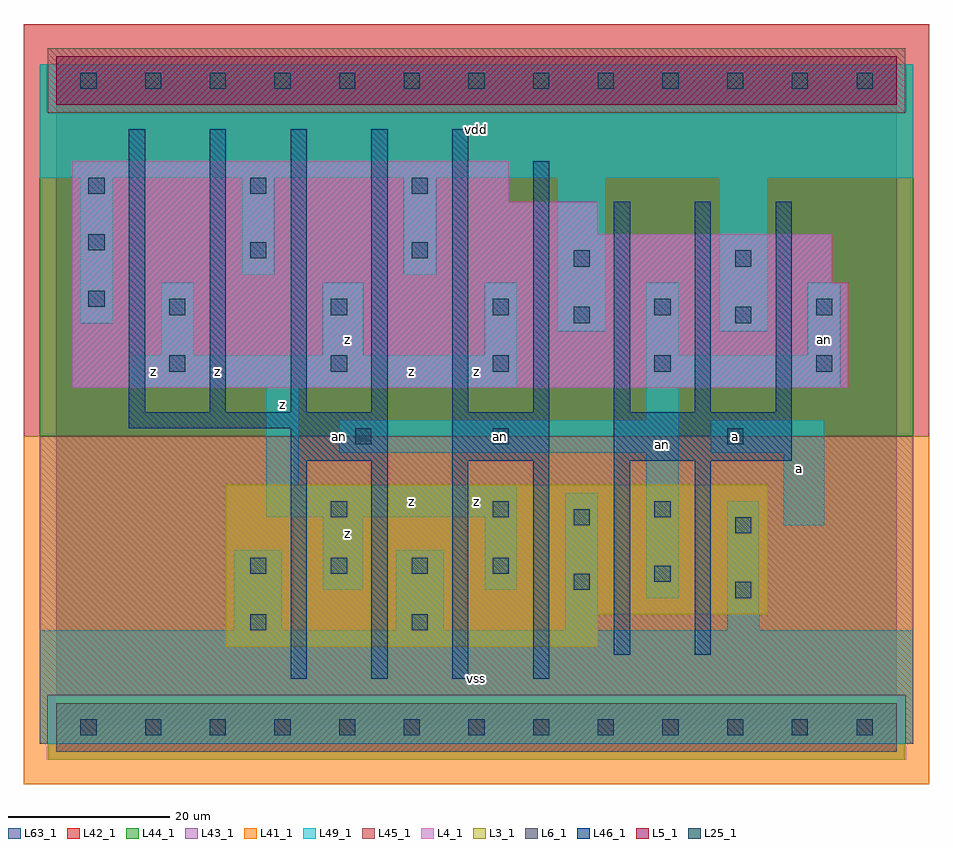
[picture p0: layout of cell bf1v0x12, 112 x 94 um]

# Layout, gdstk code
import gdstk
lib = gdstk.Library(unit=1e-6, precision=1e-09)
def R(c, l, rs):  # rectangles x0, y0, x1, y1
    for r in rs: c.add(gdstk.rectangle(r[:2], r[2:], *l))
def A(c, l, x, y, w, h, nx, ny, dx, dy):  # array of equal rectangles
    R(c, l, [(x+i*dx, y+j*dy, x+i*dx+w, y+j*dy+h) for i in range(nx) for j in range(ny)])
L3_1 = (3, 1)
L4_1 = (4, 1)
L5_1 = (5, 1)
L6_1 = (6, 1)
L25_1 = (25, 1)
L41_1 = (41, 1)
L42_1 = (42, 1)
L43_1 = (43, 1)
L44_1 = (44, 1)
L45_1 = (45, 1)
L46_1 = (46, 1)
L49_1 = (49, 1)
L63_1 = (63, 1)

bf1v0x12 = lib.new_cell('bf1v0x12')
R(bf1v0x12, L3_1, [(21,10,67,14), (21,14,88,30)])
R(bf1v0x12, L4_1, [(2,42,98,55), (2,55,96,61), (2,61,67,65), (2,65,56,70)])
R(bf1v0x12, L5_1, [(0,77,104,83)])
R(bf1v0x12, L6_1, [(0,-3,104,3), (0,-3,104,3)])
A(bf1v0x12, L25_1, 3, -1, 2, 2, 13, 2, 8, 80)
A(bf1v0x12, L25_1, 24, 19, 2, 2, 4, 1, 10, 0)
A(bf1v0x12, L25_1, 34, 26, 2, 2, 3, 1, 20, 0)
A(bf1v0x12, L25_1, 14, 44, 2, 2, 5, 2, 20, 7)
A(bf1v0x12, L25_1, 4, 66, 2, 2, 3, 1, 20, 0)
R(bf1v0x12, L25_1, [(24,12,26,14), (44,12,46,14), (84,16,86,18), (64,17,66,19), (74,18,76,20), (84,24,86,26), (64,25,66,27), (37,35,39,37), (54,35,56,37), (83,35,85,37), (64,50,66,52), (84,50,86,52), (4,52,6,54), (64,57,66,59), (84,57,86,59), (24,58,26,60), (44,58,46,60), (4,59,6,61)])
R(bf1v0x12, L41_1, [(-4,-7,108,36)])
R(bf1v0x12, L42_1, [(-4,36,108,87)])
R(bf1v0x12, L43_1, [(0,-3,104,3), (21,10,67,14), (21,14,88,30), (2,42,98,55), (2,55,96,61), (2,61,67,65), (2,65,56,70), (0,77,104,83)])
R(bf1v0x12, L44_1, [(-1,-4,105,4), (-2,36,106,76), (-2,76,-1,82), (105,76,106,82)])
R(bf1v0x12, L45_1, [(-2,-2,-1,4), (105,-2,106,4), (-2,4,106,36), (-1,76,105,84)])
A(bf1v0x12, L46_1, 29, 6, 2, 27, 4, 1, 10, 0)
A(bf1v0x12, L46_1, 9, 39, 2, 35, 5, 1, 10, 0)
A(bf1v0x12, L46_1, 69, 39, 2, 26, 3, 1, 10, 0)
R(bf1v0x12, L46_1, [(69,9,71,33), (79,9,81,33), (29,33,41,37), (49,33,61,39), (69,33,91,39), (9,37,41,39), (59,39,61,70)])
A(bf1v0x12, L49_1, 53, 46, 4, 9, 3, 1, 20, 0)
R(bf1v0x12, L49_1, [(-2,-2,106,12), (22,12,28,22), (42,12,48,22), (63,12,67,29), (83,12,87,28), (73,16,77,34), (33,17,38,26), (53,17,57,26), (90,25,95,34), (26,26,57,30), (26,30,30,42), (35,34,77,38), (81,34,95,38), (73,38,77,42), (9,42,57,46), (73,42,97,46), (13,46,17,55), (33,46,38,55), (62,49,68,68), (82,49,88,68), (3,50,7,68), (23,56,27,68), (43,56,47,68), (-2,68,106,82)])
R(bf1v0x12, L63_1, [(0,0,104,80)])
bf1v0x12.add(gdstk.Label('an', (35,36), layer=46, texttype=1))
bf1v0x12.add(gdstk.Label('an', (55,36), layer=49, texttype=1))
bf1v0x12.add(gdstk.Label('z', (12,44), layer=49, texttype=1))
bf1v0x12.add(gdstk.Label('z', (36,24), layer=49, texttype=1))
bf1v0x12.add(gdstk.Label('z', (20,44), layer=49, texttype=1))
bf1v0x12.add(gdstk.Label('z', (28,40), layer=49, texttype=1))
bf1v0x12.add(gdstk.Label('z', (36,48), layer=49, texttype=1))
bf1v0x12.add(gdstk.Label('vss', (52,6), layer=49, texttype=1))
bf1v0x12.add(gdstk.Label('z', (44,28), layer=49, texttype=1))
bf1v0x12.add(gdstk.Label('z', (52,28), layer=49, texttype=1))
bf1v0x12.add(gdstk.Label('z', (44,44), layer=49, texttype=1))
bf1v0x12.add(gdstk.Label('z', (52,44), layer=49, texttype=1))
bf1v0x12.add(gdstk.Label('vdd', (52,74), layer=49, texttype=1))
bf1v0x12.add(gdstk.Label('an', (56,36), layer=49, texttype=1))
bf1v0x12.add(gdstk.Label('an', (75,35), layer=49, texttype=1))
bf1v0x12.add(gdstk.Label('a', (92,32), layer=49, texttype=1))
bf1v0x12.add(gdstk.Label('a', (84,36), layer=49, texttype=1))
bf1v0x12.add(gdstk.Label('an', (95,48), layer=49, texttype=1))

lib.write_gds('bf1v0x12.gds')
